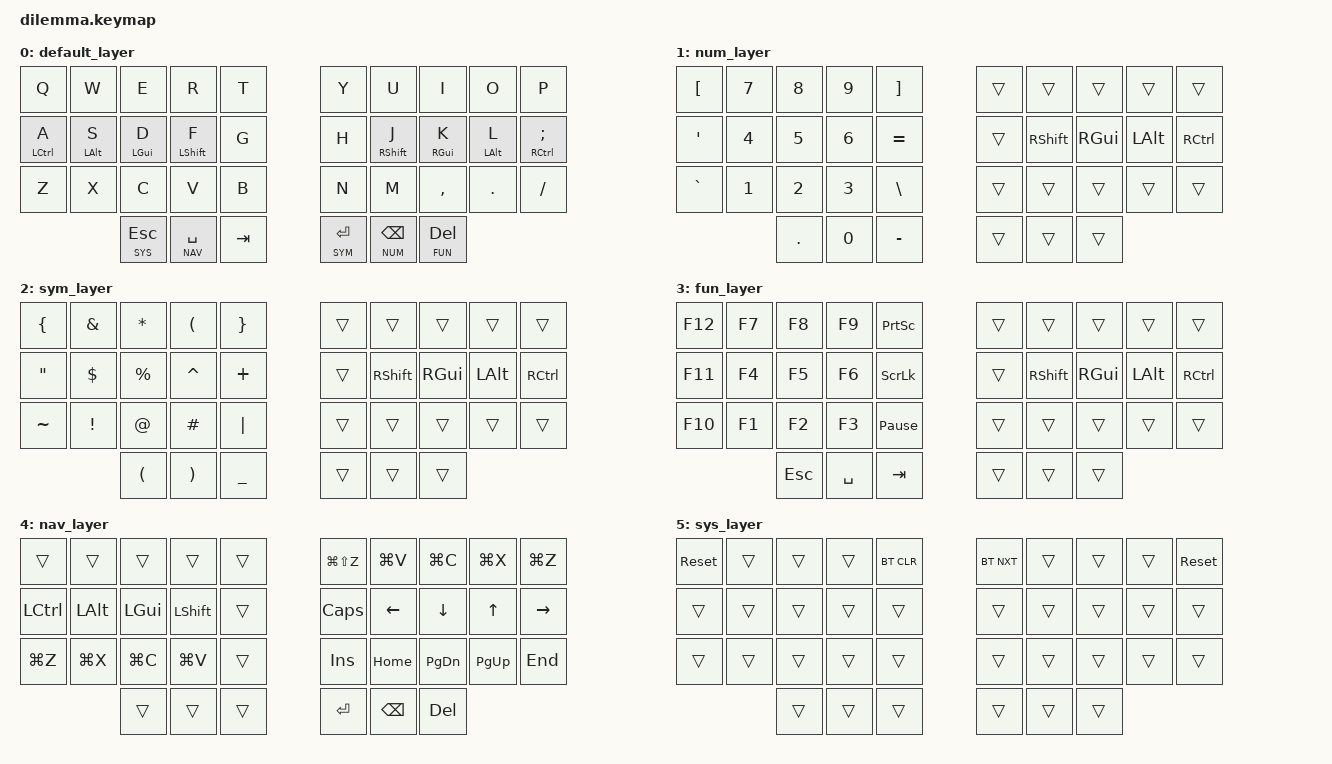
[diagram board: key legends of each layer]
#include <behaviors.dtsi>
#include <dt-bindings/zmk/keys.h>
#include <dt-bindings/zmk/bt.h>

#define DEFAULT 0
#define NUM 1
#define SYM 2
#define FUN 3
#define NAV 4
#define SYS 5

&lt {
  tapping-term-ms = <300>;
  quick_tap_ms = <200>;
  flavor = "hold-preferred";
};

/ {
  behaviors {
    ls: left_shift {
      compatible = "zmk,behavior-hold-tap";
      #binding-cells = <2>;
      flavor = "balanced";
      tapping-term-ms = <200>;
      quick-tap-ms = <200>;
      bindings = <&kp>, <&kp>;
      hold-trigger-key-positions = <5 6 7 8 9 15 16 17 18 19 25 26 27 28 29 33 34 35>;
      hold-trigger-on-release;
    };
    rs: right_shift {
      compatible = "zmk,behavior-hold-tap";
      #binding-cells = <2>;
      flavor = "balanced";
      tapping-term-ms = <200>;
      quick-tap-ms = <200>;
      bindings = <&kp>, <&kp>;
      hold-trigger-key-positions = <0 1 2 3 4 10 11 12 13 14 20 21 22 23 24 30 31 32>;
      hold-trigger-on-release;
    };
    lm: left_hand_positional_hold_tap {
      compatible = "zmk,behavior-hold-tap";
      #binding-cells = <2>;
      flavor = "balanced";
      tapping-term-ms = <200>;
      quick-tap-ms = <200>;
      require-prior-idle-ms = <100>;
      bindings = <&kp>, <&kp>;
      hold-trigger-key-positions = <5 6 7 8 9 15 16 17 18 19 25 26 27 28 29 33 34 35>;
      hold-trigger-on-release;
    };
    rm: right_hand_positional_hold_tap {
      compatible = "zmk,behavior-hold-tap";
      #binding-cells = <2>;
      flavor = "balanced";
      tapping-term-ms = <200>;
      quick-tap-ms = <200>;
      require-prior-idle-ms = <100>;
      bindings = <&kp>, <&kp>;
      hold-trigger-key-positions = <0 1 2 3 4 10 11 12 13 14 20 21 22 23 24 30 31 32>;
      hold-trigger-on-release;
    };
  };

  keymap {
        compatible = "zmk,keymap";

        default_layer {
            bindings = <
	&kp Q        &kp W       &kp E        &kp R          &kp T              &kp Y          &kp U         &kp I       &kp O       &kp P
	&lm LCTRL A  &lm LALT S  &lm LGUI D   &ls LSHFT F    &kp G              &kp H          &rs RSHFT J   &rm RGUI K  &rm LALT L  &rm RCTRL SEMI
	&kp Z        &kp X       &kp C        &kp V          &kp B              &kp N          &kp M         &kp COMMA   &kp DOT     &kp FSLH
	                         &lt SYS ESC  &lt NAV SPACE  &kp TAB            &lt SYM RET    &lt NUM BSPC  &lt FUN DEL
            >;
        };
        num_layer {
            bindings = <
	&kp LBKT     &kp N7      &kp N8       &kp N9         &kp RBKT           &trans         &trans        &trans      &trans      &trans
	&kp SQT      &kp N4      &kp N5       &kp N6         &kp EQUAL          &trans         &kp RSHFT     &kp RGUI    &kp LALT    &kp RCTRL
	&kp GRAVE    &kp N1      &kp N2       &kp N3         &kp BSLH           &trans         &trans        &trans      &trans      &trans
	                         &kp DOT      &kp N0         &kp MINUS          &trans         &trans        &trans
            >;
        };
        sym_layer {
            bindings = <
	&kp LBRC     &kp AMPS    &kp STAR     &kp LPAR       &kp RBRC           &trans         &trans        &trans      &trans      &trans
	&kp DQT      &kp DLLR    &kp PRCNT    &kp CARET      &kp PLUS           &trans         &kp RSHFT     &kp RGUI    &kp LALT    &kp RCTRL
	&kp TILDE    &kp EXCL    &kp AT       &kp HASH       &kp PIPE           &trans         &trans        &trans      &trans      &trans
	                         &kp LPAR     &kp RPAR       &kp UNDER                         &trans        &trans      &trans
            >;
        };
        fun_layer {
            bindings = <
	&kp F12      &kp F7      &kp F8       &kp F9         &kp PRINTSCREEN    &trans         &trans         &trans      &trans      &trans
	&kp F11      &kp F4      &kp F5       &kp F6         &kp SLCK           &trans         &kp RSHFT      &kp RGUI    &kp LALT    &kp RCTRL
	&kp F10      &kp F1      &kp F2       &kp F3         &kp PAUSE_BREAK    &trans         &trans         &trans      &trans      &trans
	                         &kp ESC      &kp SPACE      &kp TAB            &trans         &trans         &trans
            >;
        };
        nav_layer {
            bindings = <
	&trans       &trans      &trans       &trans         &trans             &kp LG(LS(Z))  &kp LG(V)      &kp LG(C)   &kp LG(X)   &kp LG(Z)
	&kp LCTRL    &kp LALT    &kp LGUI     &kp LSHFT      &trans             &kp CAPS       &kp LEFT       &kp DOWN    &kp UP      &kp RIGHT
	&kp LG(Z)    &kp LG(X)   &kp LG(C)    &kp LG(V)      &trans             &kp INS        &kp HOME       &kp PG_DN   &kp PG_UP   &kp END
	                         &trans       &trans         &trans             &kp RET        &kp BSPC       &kp DEL
            >;
        };
        sys_layer {
            bindings = <
	&sys_reset   &trans      &trans       &trans         &bt BT_CLR         &bt BT_NXT     &trans         &trans      &trans      &sys_reset
	&trans       &trans      &trans       &trans         &trans             &trans         &trans         &trans      &trans      &trans
	&trans       &trans      &trans       &trans         &trans             &trans         &trans         &trans      &trans      &trans
	                         &trans       &trans         &trans             &trans         &trans         &trans
            >;
        };
    };
};
